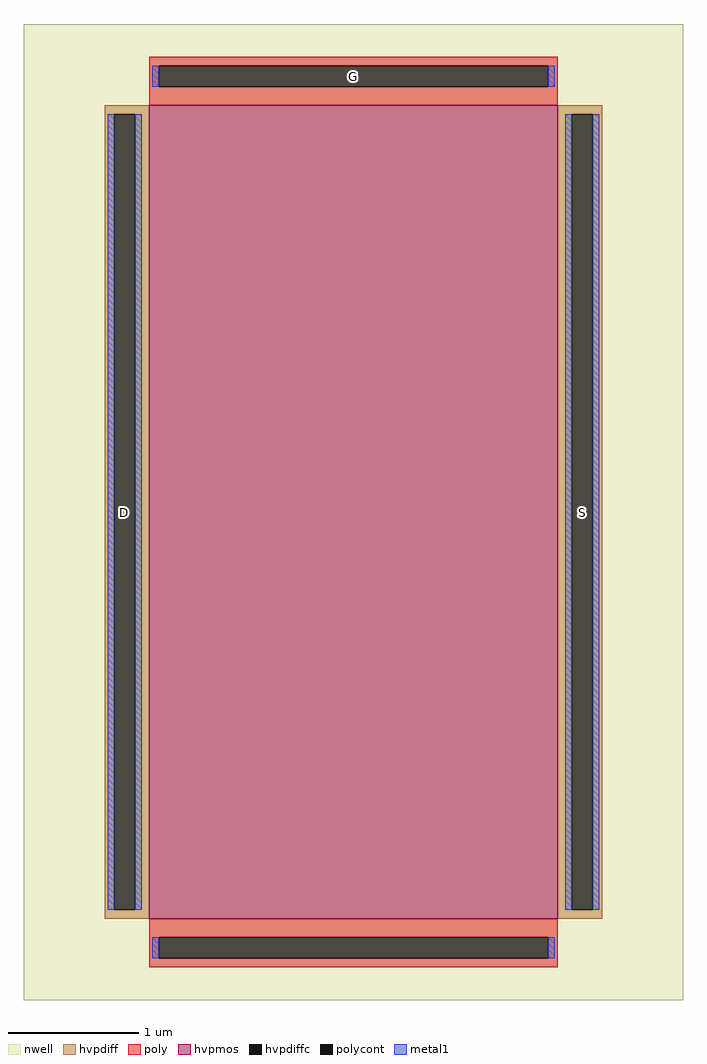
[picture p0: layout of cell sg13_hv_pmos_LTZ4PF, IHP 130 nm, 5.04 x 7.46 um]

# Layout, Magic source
magic
tech ihp-sg13cmos5l
<< nwell >>
rect -252 -373 252 373
<< hvpmos >>
rect -156 -311 156 311
<< hvpdiff >>
rect -190 304 -156 311
rect -190 -304 -183 304
rect -167 -304 -156 304
rect -190 -311 -156 -304
rect 156 304 190 311
rect 156 -304 167 304
rect 183 -304 190 304
rect 156 -311 190 -304
<< hvpdiffc >>
rect -183 -304 -167 304
rect 167 -304 183 304
<< poly >>
rect -156 341 156 348
rect -156 325 -149 341
rect 149 325 156 341
rect -156 311 156 325
rect -156 -325 156 -311
rect -156 -341 -149 -325
rect 149 -341 156 -325
rect -156 -348 156 -341
<< polycont >>
rect -149 325 149 341
rect -149 -341 149 -325
<< metal1 >>
rect -154 325 -149 341
rect 149 325 154 341
rect -188 -304 -183 304
rect -167 -304 -162 304
rect 162 -304 167 304
rect 183 -304 188 304
rect -154 -341 -149 -325
rect 149 -341 154 -325
<< labels >>
rlabel hvpdiffc -175 0 -175 0 0 D
port 46 nsew
rlabel hvpdiffc 175 0 175 0 0 S
port 47 nsew
rlabel polycont 0 333 0 333 0 G
port 48 nsew
<< properties >>
string gencell sg13_hv_pmos
string library sg13cmos5l
string parameters w 6.215 l 3.115 m 1 ng 1 diffcov 100 polycov 100 guard 0 glc 1 grc 1 gtc 1 gbc 1 tbcov 100 rlcov 100 topc 1 botc 1 poverlap 0 doverlap 1 lmin 0.4 wmin 0.15 class mosfet compatible {sg13_lv_pmos sg13_hv_pmos} full_metal 1 conn_gates 0 gate_ring 0 ccols 1 viasrc 0 viadrn 0 viagate 0 viagb 0 viagr 0 viagl 0 viagt 0 doports 1
<< end >>
